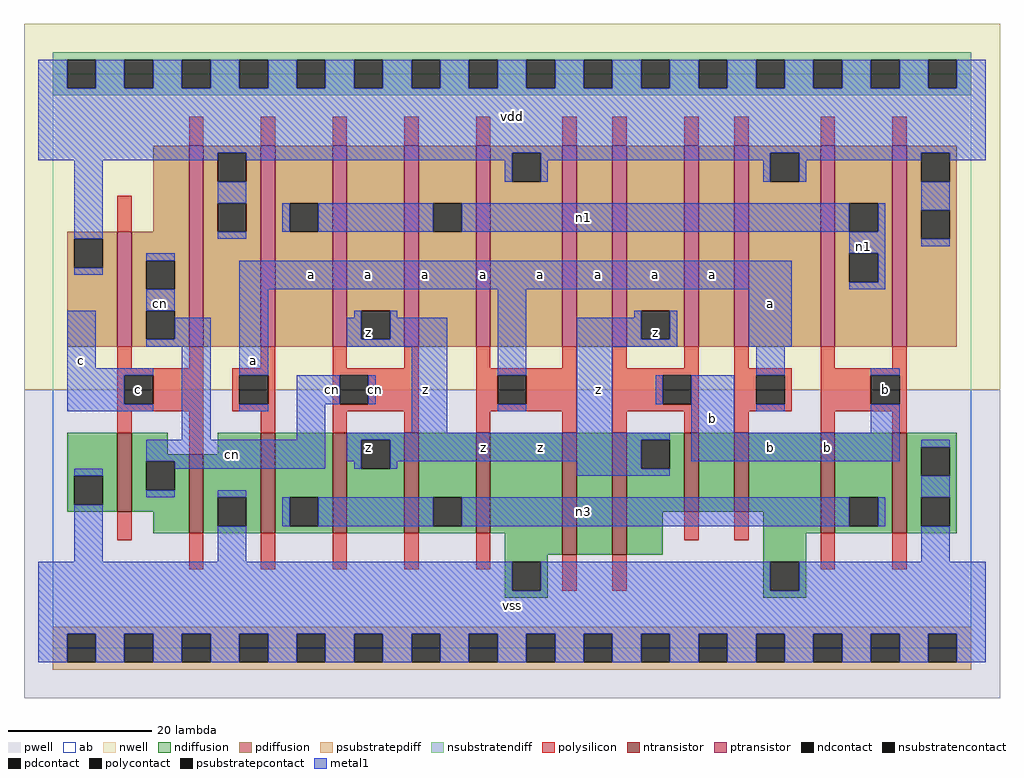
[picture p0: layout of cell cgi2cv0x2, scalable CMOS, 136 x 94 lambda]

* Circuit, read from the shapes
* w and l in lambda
.subckt cgi2cv0x2 a b c cn n1 n3 vdd vss z
M1 cn c vss vss nfet w=11 l=2 m=2
M2 n3 a vss vss nfet w=14 l=2 m=2
M3 z cn n3 vss nfet w=14 l=2 m=2
M4 n2 a vss vss nfet w=17 l=2
M5 z b n2 vss nfet w=17 l=2
M6 n4 b z vss nfet w=11 l=2
M7 vss a n4 vss nfet w=11 l=2
M8 n3 b vss vss nfet w=14 l=2 m=2
M9 cn c vdd vdd pfet w=16 l=2
M10 vdd c cn vdd pfet w=28 l=2
M11 n1 a vdd vdd pfet w=28 l=2 m=2
M12 z cn n1 vdd pfet w=28 l=2 m=2
M13 n5 a vdd vdd pfet w=28 l=2
M14 z b n5 vdd pfet w=28 l=2
M15 n6 b z vdd pfet w=28 l=2
M16 vdd a n6 vdd pfet w=28 l=2
M17 n1 b vdd vdd pfet w=28 l=2 m=2
.ends

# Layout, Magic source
magic
tech scmos
<< ab >>
rect 0 0 128 80
<< pwell >>
rect -4 -7 132 36
<< nwell >>
rect -4 36 132 87
<< polysilicon >>
rect 19 70 21 74
rect 29 70 31 74
rect 39 70 41 74
rect 49 70 51 74
rect 59 70 61 74
rect 71 70 73 74
rect 78 70 80 74
rect 88 70 90 74
rect 95 70 97 74
rect 107 70 109 74
rect 117 70 119 74
rect 9 58 11 63
rect 9 39 11 42
rect 19 39 21 42
rect 29 39 31 42
rect 9 38 21 39
rect 9 34 10 38
rect 14 34 21 38
rect 9 33 21 34
rect 25 38 31 39
rect 25 34 26 38
rect 30 34 31 38
rect 25 33 31 34
rect 9 30 11 33
rect 19 27 21 33
rect 29 30 31 33
rect 39 39 41 42
rect 49 39 51 42
rect 39 38 51 39
rect 39 34 40 38
rect 44 34 51 38
rect 39 33 51 34
rect 39 30 41 33
rect 49 30 51 33
rect 59 39 61 42
rect 71 39 73 42
rect 59 38 73 39
rect 59 34 62 38
rect 66 34 73 38
rect 59 33 73 34
rect 59 30 61 33
rect 71 30 73 33
rect 78 39 80 42
rect 88 39 90 42
rect 78 38 90 39
rect 78 34 85 38
rect 89 34 90 38
rect 78 33 90 34
rect 78 30 80 33
rect 88 30 90 33
rect 95 39 97 42
rect 107 39 109 42
rect 117 39 119 42
rect 95 38 103 39
rect 95 34 98 38
rect 102 34 103 38
rect 95 33 103 34
rect 107 38 119 39
rect 107 34 114 38
rect 118 34 119 38
rect 107 33 119 34
rect 95 30 97 33
rect 107 30 109 33
rect 117 30 119 33
rect 9 15 11 19
rect 19 11 21 16
rect 29 11 31 16
rect 39 11 41 16
rect 49 11 51 16
rect 59 11 61 16
rect 88 15 90 19
rect 95 15 97 19
rect 71 8 73 13
rect 78 8 80 13
rect 107 11 109 16
rect 117 11 119 16
<< ndiffusion >>
rect 2 24 9 30
rect 2 20 3 24
rect 7 20 9 24
rect 2 19 9 20
rect 11 27 16 30
rect 23 27 29 30
rect 11 26 19 27
rect 11 22 13 26
rect 17 22 19 26
rect 11 19 19 22
rect 14 16 19 19
rect 21 21 29 27
rect 21 17 23 21
rect 27 17 29 21
rect 21 16 29 17
rect 31 21 39 30
rect 31 17 33 21
rect 37 17 39 21
rect 31 16 39 17
rect 41 29 49 30
rect 41 25 43 29
rect 47 25 49 29
rect 41 16 49 25
rect 51 21 59 30
rect 51 17 53 21
rect 57 17 59 21
rect 51 16 59 17
rect 61 16 71 30
rect 63 13 71 16
rect 73 13 78 30
rect 80 29 88 30
rect 80 25 82 29
rect 86 25 88 29
rect 80 19 88 25
rect 90 19 95 30
rect 97 19 107 30
rect 80 13 85 19
rect 99 16 107 19
rect 109 21 117 30
rect 109 17 111 21
rect 115 17 117 21
rect 109 16 117 17
rect 119 28 126 30
rect 119 24 121 28
rect 125 24 126 28
rect 119 21 126 24
rect 119 17 121 21
rect 125 17 126 21
rect 119 16 126 17
rect 63 12 69 13
rect 63 8 64 12
rect 68 8 69 12
rect 99 12 105 16
rect 99 8 100 12
rect 104 8 105 12
rect 63 7 69 8
rect 99 7 105 8
<< pdiffusion >>
rect 14 58 19 70
rect 2 57 9 58
rect 2 53 3 57
rect 7 53 9 57
rect 2 42 9 53
rect 11 54 19 58
rect 11 50 13 54
rect 17 50 19 54
rect 11 47 19 50
rect 11 43 13 47
rect 17 43 19 47
rect 11 42 19 43
rect 21 69 29 70
rect 21 65 23 69
rect 27 65 29 69
rect 21 62 29 65
rect 21 58 23 62
rect 27 58 29 62
rect 21 42 29 58
rect 31 62 39 70
rect 31 58 33 62
rect 37 58 39 62
rect 31 42 39 58
rect 41 47 49 70
rect 41 43 43 47
rect 47 43 49 47
rect 41 42 49 43
rect 51 62 59 70
rect 51 58 53 62
rect 57 58 59 62
rect 51 42 59 58
rect 61 69 71 70
rect 61 65 64 69
rect 68 65 71 69
rect 61 42 71 65
rect 73 42 78 70
rect 80 47 88 70
rect 80 43 82 47
rect 86 43 88 47
rect 80 42 88 43
rect 90 42 95 70
rect 97 69 107 70
rect 97 65 100 69
rect 104 65 107 69
rect 97 42 107 65
rect 109 62 117 70
rect 109 58 111 62
rect 115 58 117 62
rect 109 55 117 58
rect 109 51 111 55
rect 115 51 117 55
rect 109 42 117 51
rect 119 69 126 70
rect 119 65 121 69
rect 125 65 126 69
rect 119 61 126 65
rect 119 57 121 61
rect 125 57 126 61
rect 119 42 126 57
<< metal1 >>
rect -2 78 2 82
rect 6 78 10 82
rect 14 78 18 82
rect 22 78 26 82
rect 30 78 34 82
rect 38 78 42 82
rect 46 78 50 82
rect 54 78 58 82
rect 62 78 66 82
rect 70 78 74 82
rect 78 78 82 82
rect 86 78 90 82
rect 94 78 98 82
rect 102 78 106 82
rect 110 78 114 82
rect 118 78 122 82
rect 126 78 130 82
rect -2 69 130 78
rect -2 68 23 69
rect 3 57 7 68
rect 27 68 64 69
rect 63 65 64 68
rect 68 68 100 69
rect 68 65 69 68
rect 99 65 100 68
rect 104 68 121 69
rect 104 65 105 68
rect 125 68 130 69
rect 23 62 27 65
rect 32 58 33 62
rect 37 58 53 62
rect 57 58 111 62
rect 115 58 116 62
rect 23 57 27 58
rect 111 55 116 58
rect 121 61 125 65
rect 121 56 125 57
rect 3 52 7 53
rect 13 54 17 55
rect 13 47 17 50
rect 2 39 6 47
rect 26 50 103 54
rect 115 51 116 55
rect 111 50 116 51
rect 17 43 22 46
rect 13 42 22 43
rect 2 38 14 39
rect 2 34 10 38
rect 2 33 14 34
rect 18 29 22 42
rect 26 38 30 50
rect 42 46 43 47
rect 41 43 43 46
rect 47 46 48 47
rect 47 43 55 46
rect 41 42 55 43
rect 26 33 30 34
rect 34 34 40 38
rect 44 34 45 38
rect 34 29 38 34
rect 50 30 55 42
rect 62 38 66 50
rect 81 46 82 47
rect 62 33 66 34
rect 73 43 82 46
rect 86 43 87 47
rect 73 42 87 43
rect 97 42 103 50
rect 73 30 78 42
rect 98 38 102 42
rect 84 34 85 38
rect 89 30 95 38
rect 98 33 102 34
rect 114 38 118 39
rect 114 30 118 34
rect 13 26 38 29
rect 41 29 86 30
rect 41 26 43 29
rect 3 24 7 25
rect 17 25 38 26
rect 42 25 43 26
rect 47 26 82 29
rect 47 25 48 26
rect 73 25 82 26
rect 89 26 118 30
rect 121 28 125 29
rect 73 24 86 25
rect 13 21 17 22
rect 23 21 27 22
rect 121 21 125 24
rect 3 12 7 20
rect 32 17 33 21
rect 37 17 53 21
rect 57 17 111 21
rect 115 17 116 21
rect 23 12 27 17
rect 121 12 125 17
rect -2 8 64 12
rect 68 8 100 12
rect 104 8 130 12
rect -2 2 130 8
rect -2 -2 2 2
rect 6 -2 10 2
rect 14 -2 18 2
rect 22 -2 26 2
rect 30 -2 34 2
rect 38 -2 42 2
rect 46 -2 50 2
rect 54 -2 58 2
rect 62 -2 66 2
rect 70 -2 74 2
rect 78 -2 82 2
rect 86 -2 90 2
rect 94 -2 98 2
rect 102 -2 106 2
rect 110 -2 114 2
rect 118 -2 122 2
rect 126 -2 130 2
<< ntransistor >>
rect 9 19 11 30
rect 19 16 21 27
rect 29 16 31 30
rect 39 16 41 30
rect 49 16 51 30
rect 59 16 61 30
rect 71 13 73 30
rect 78 13 80 30
rect 88 19 90 30
rect 95 19 97 30
rect 107 16 109 30
rect 117 16 119 30
<< ptransistor >>
rect 9 42 11 58
rect 19 42 21 70
rect 29 42 31 70
rect 39 42 41 70
rect 49 42 51 70
rect 59 42 61 70
rect 71 42 73 70
rect 78 42 80 70
rect 88 42 90 70
rect 95 42 97 70
rect 107 42 109 70
rect 117 42 119 70
<< polycontact >>
rect 10 34 14 38
rect 26 34 30 38
rect 40 34 44 38
rect 62 34 66 38
rect 85 34 89 38
rect 98 34 102 38
rect 114 34 118 38
<< ndcontact >>
rect 3 20 7 24
rect 13 22 17 26
rect 23 17 27 21
rect 33 17 37 21
rect 43 25 47 29
rect 53 17 57 21
rect 82 25 86 29
rect 111 17 115 21
rect 121 24 125 28
rect 121 17 125 21
rect 64 8 68 12
rect 100 8 104 12
<< pdcontact >>
rect 3 53 7 57
rect 13 50 17 54
rect 13 43 17 47
rect 23 65 27 69
rect 23 58 27 62
rect 33 58 37 62
rect 43 43 47 47
rect 53 58 57 62
rect 64 65 68 69
rect 82 43 86 47
rect 100 65 104 69
rect 111 58 115 62
rect 111 51 115 55
rect 121 65 125 69
rect 121 57 125 61
<< psubstratepcontact >>
rect 2 -2 6 2
rect 10 -2 14 2
rect 18 -2 22 2
rect 26 -2 30 2
rect 34 -2 38 2
rect 42 -2 46 2
rect 50 -2 54 2
rect 58 -2 62 2
rect 66 -2 70 2
rect 74 -2 78 2
rect 82 -2 86 2
rect 90 -2 94 2
rect 98 -2 102 2
rect 106 -2 110 2
rect 114 -2 118 2
rect 122 -2 126 2
<< nsubstratencontact >>
rect 2 78 6 82
rect 10 78 14 82
rect 18 78 22 82
rect 26 78 30 82
rect 34 78 38 82
rect 42 78 46 82
rect 50 78 54 82
rect 58 78 62 82
rect 66 78 70 82
rect 74 78 78 82
rect 82 78 86 82
rect 90 78 94 82
rect 98 78 102 82
rect 106 78 110 82
rect 114 78 118 82
rect 122 78 126 82
<< psubstratepdiff >>
rect 0 2 128 3
rect 0 -2 2 2
rect 6 -2 10 2
rect 14 -2 18 2
rect 22 -2 26 2
rect 30 -2 34 2
rect 38 -2 42 2
rect 46 -2 50 2
rect 54 -2 58 2
rect 62 -2 66 2
rect 70 -2 74 2
rect 78 -2 82 2
rect 86 -2 90 2
rect 94 -2 98 2
rect 102 -2 106 2
rect 110 -2 114 2
rect 118 -2 122 2
rect 126 -2 128 2
rect 0 -3 128 -2
<< nsubstratendiff >>
rect 0 82 128 83
rect 0 78 2 82
rect 6 78 10 82
rect 14 78 18 82
rect 22 78 26 82
rect 30 78 34 82
rect 38 78 42 82
rect 46 78 50 82
rect 54 78 58 82
rect 62 78 66 82
rect 70 78 74 82
rect 78 78 82 82
rect 86 78 90 82
rect 94 78 98 82
rect 102 78 106 82
rect 110 78 114 82
rect 118 78 122 82
rect 126 78 128 82
rect 0 77 128 78
<< labels >>
rlabel polysilicon 45 36 45 36 6 cn
rlabel metal1 4 40 4 40 6 c
rlabel polycontact 12 36 12 36 6 c
rlabel metal1 15 48 15 48 6 cn
rlabel metal1 25 27 25 27 6 cn
rlabel ndcontact 44 28 44 28 6 z
rlabel metal1 39 36 39 36 6 cn
rlabel metal1 28 40 28 40 6 a
rlabel pdcontact 44 44 44 44 6 z
rlabel metal1 36 52 36 52 6 a
rlabel metal1 44 52 44 52 6 a
rlabel metal1 64 6 64 6 6 vss
rlabel metal1 60 28 60 28 6 z
rlabel metal1 68 28 68 28 6 z
rlabel metal1 52 36 52 36 6 z
rlabel metal1 60 52 60 52 6 a
rlabel metal1 68 52 68 52 6 a
rlabel metal1 52 52 52 52 6 a
rlabel metal1 64 74 64 74 6 vdd
rlabel metal1 100 28 100 28 6 b
rlabel metal1 92 32 92 32 6 b
rlabel metal1 76 36 76 36 6 z
rlabel pdcontact 84 44 84 44 6 z
rlabel metal1 100 48 100 48 6 a
rlabel metal1 84 52 84 52 6 a
rlabel metal1 92 52 92 52 6 a
rlabel metal1 76 52 76 52 6 a
rlabel metal1 74 19 74 19 6 n3
rlabel metal1 108 28 108 28 6 b
rlabel polycontact 116 36 116 36 6 b
rlabel metal1 113 56 113 56 6 n1
rlabel metal1 74 60 74 60 6 n1
<< end >>
